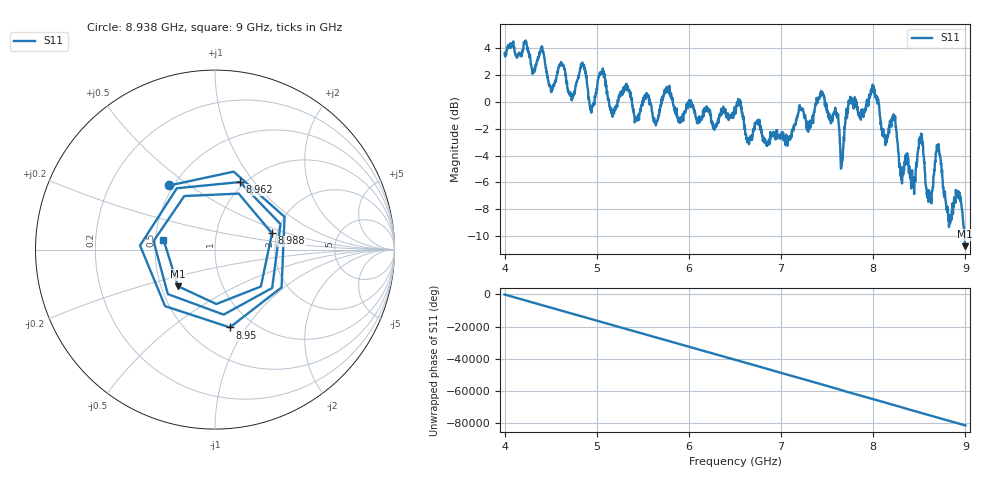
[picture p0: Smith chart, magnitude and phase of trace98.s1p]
! Created with skrf 1.8.0 (http://scikit-rf.org).
# Hz S RI R 50.0
!freq ReS11 ImS11
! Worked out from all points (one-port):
!   1601 points, 4 GHz to 9 GHz, reference 50 ohm
!   lowest |S11| = -10.8 dB at 8.997 GHz (marker M1), VSWR 1.82, Z = 30.6 - j13.6 ohm
!   |S11| at or under -10 dB: 8.992397 GHz to end of sweep
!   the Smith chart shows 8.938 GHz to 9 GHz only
!   S11 on the Smith chart (normalised r, x): 8.938 GHz: 0.47, +0.42; 8.95 GHz: 0.78, -0.84; 8.962 GHz: 0.95, +0.85; 8.988 GHz: 1.88, +0.38; 9 GHz: 0.55, +0.07
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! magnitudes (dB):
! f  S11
! 4 GHz  3.6
! 4.506 GHz  0.7
! 4.625 GHz  2.7
! 4.725 GHz  0.6
! 4.853 GHz  2.7
! 4.944 GHz  -0.5
! 5.05 GHz  2.3
! 5.162 GHz  -0.8
! 5.25 GHz  0.5
! 5.875 GHz  -1.1
! 6.5 GHz  -0.9
! 7.125 GHz  -2.0
! 7.447 GHz  0.7
! 7.659 GHz  -4.6
! 7.75 GHz  0.4
! 8.006 GHz  1.2
! 8.375 GHz  -4.7
! 8.434 GHz  -5.6
! 8.519 GHz  -2.4
! 8.616 GHz  -7.1
! 8.703 GHz  -3.6
! 8.822 GHz  -9.3
! 8.938 GHz  -7.2
! 8.95 GHz  -7.1
! 8.962 GHz  -7.9
! 8.988 GHz  -9.6
! 8.997 GHz  -10.8
! 9 GHz  -10.7
